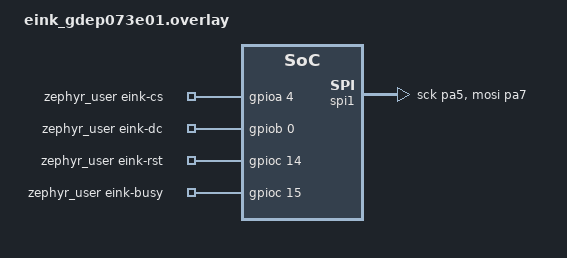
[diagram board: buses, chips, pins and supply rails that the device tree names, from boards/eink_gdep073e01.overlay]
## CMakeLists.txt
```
cmake_minimum_required(VERSION 3.28.0)

find_package(Zephyr REQUIRED HINTS $ENV{ZEPHYR_BASE})
project(nucleo_l432kc_eink_gdep073e01)

target_sources(app PRIVATE
    src/main.c
    src/gdep073e01.c
)
```

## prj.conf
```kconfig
# SPI + GPIO for the e-paper panel
CONFIG_SPI=y
CONFIG_GPIO=y

# Console + logging
CONFIG_SERIAL=y
CONFIG_CONSOLE=y
CONFIG_UART_CONSOLE=y
CONFIG_PRINTK=y
CONFIG_STDOUT_CONSOLE=y

CONFIG_LOG=y
CONFIG_LOG_MODE_IMMEDIATE=y

# One 800-wide 4bpp scanline (400 bytes) lives on the stack while streaming
CONFIG_MAIN_STACK_SIZE=2048
```

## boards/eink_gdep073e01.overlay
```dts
/* boards/eink_gdep073e01.overlay for nucleo_l432kc
 *
 * Good Display GDEP073E01 (E Ink Spectra 6, SSD1677-family) 7.3" panel,
 * wired through the DESPI-C73 adapter board (8-pin header P2: 3.3V, GND,
 * SDI, SCK, CS, D/C, RES, BUSY - no MISO on this adapter).
 * CS/DC/RES/BUSY are plain GPIOs, driven manually by the driver so pixel
 * data can be streamed row-by-row without holding a full 192 KB
 * framebuffer (the L432KC only has 64 KB of SRAM).
 *
 * Wiring (DESPI-C73 P2 -> Nucleo Arduino-Nano header):
 *   3.3V -> 3V3
 *   GND  -> GND
 *   SDI  -> A6  (PA7, MOSI)
 *   SCK  -> A4  (PA5)
 *   CS   -> A3  (PA4)
 *   D/C  -> D3  (PB0)
 *   RES  -> D7  (PC14)
 *   BUSY -> D8  (PC15)
 */

&spi1 {
	pinctrl-0 = <&spi1_sck_pa5 &spi1_mosi_pa7>;
	pinctrl-names = "default";
	status = "okay";
};

&gpioa {
	status = "okay";
};

&gpiob {
	status = "okay";
};

&gpioc {
	status = "okay";
};

/ {
	zephyr_user: zephyr,user {
		eink-cs-gpios   = <&gpioa 4  GPIO_ACTIVE_HIGH>; /* active LOW in hw, driven raw */
		eink-dc-gpios   = <&gpiob 0  GPIO_ACTIVE_HIGH>; /* 0=command, 1=data */
		eink-rst-gpios  = <&gpioc 14 GPIO_ACTIVE_HIGH>; /* active LOW in hw, driven raw */
		eink-busy-gpios = <&gpioc 15 (GPIO_ACTIVE_HIGH | GPIO_PULL_UP)>; /* LOW=busy, HIGH=idle; PULL_UP is a temporary diagnostic to check if BUSY is floating */
	};
};
```

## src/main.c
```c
#include <zephyr/kernel.h>
#include <zephyr/device.h>
#include <zephyr/drivers/spi.h>
#include <zephyr/drivers/gpio.h>
#include <zephyr/logging/log.h>

#include "gdep073e01.h"

LOG_MODULE_REGISTER(main, LOG_LEVEL_INF);

#define ZEPHYR_USER_NODE DT_PATH(zephyr_user)

static struct gdep073e01_dev eink = {
	.cs   = GPIO_DT_SPEC_GET(ZEPHYR_USER_NODE, eink_cs_gpios),
	.dc   = GPIO_DT_SPEC_GET(ZEPHYR_USER_NODE, eink_dc_gpios),
	.rst  = GPIO_DT_SPEC_GET(ZEPHYR_USER_NODE, eink_rst_gpios),
	.busy = GPIO_DT_SPEC_GET(ZEPHYR_USER_NODE, eink_busy_gpios),
};

int main(void)
{
	int ret;

	eink.spi = DEVICE_DT_GET(DT_NODELABEL(spi1));
	eink.spi_cfg.frequency = 2000000U;
	eink.spi_cfg.operation = SPI_WORD_SET(8) | SPI_TRANSFER_MSB;
	/* eink.spi_cfg.cs left zero-initialized: CS is driven manually below,
	 * not by the SPI driver.
	 */

	LOG_INF("Initializing GDEP073E01 7.3in Spectra 6 e-paper display...");

	ret = gdep073e01_init(&eink);
	if (ret) {
		LOG_ERR("Display init failed: %d", ret);
		return ret;
	}

	LOG_INF("Drawing color bar test pattern (full refresh takes ~15-20s)...");
	ret = gdep073e01_display_color_bars(&eink);
	if (ret) {
		LOG_ERR("Display refresh failed: %d", ret);
		return ret;
	}

	LOG_INF("Done. Putting panel into deep sleep.");
	gdep073e01_sleep(&eink);

	while (1) {
		k_msleep(1000);
	}

	return 0;
}
```

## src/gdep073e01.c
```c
#include "gdep073e01.h"

#include <errno.h>
#include <string.h>
#include <zephyr/kernel.h>
#include <zephyr/logging/log.h>
#include <zephyr/sys/util.h>

LOG_MODULE_REGISTER(gdep073e01, LOG_LEVEL_DBG);

#define BUSY_TIMEOUT_MS 30000

static void cs_select(struct gdep073e01_dev *dev)
{
	gpio_pin_set_dt(&dev->cs, 0); /* CS is active LOW */
}

static void cs_deselect(struct gdep073e01_dev *dev)
{
	gpio_pin_set_dt(&dev->cs, 1);
}

static int spi_send(struct gdep073e01_dev *dev, const uint8_t *data, size_t len)
{
	struct spi_buf buf = { .buf = (void *)data, .len = len };
	struct spi_buf_set set = { .buffers = &buf, .count = 1 };

	return spi_write(dev->spi, &dev->spi_cfg, &set);
}

/* Sends a command byte (DC low) followed by optional parameter bytes (DC high),
 * holding CS asserted for the whole transaction.
 */
static int send_cmd(struct gdep073e01_dev *dev, uint8_t cmd, const uint8_t *params, size_t len)
{
	int ret;

	cs_select(dev);

	gpio_pin_set_dt(&dev->dc, 0);
	ret = spi_send(dev, &cmd, 1);
	if (ret) {
		goto out;
	}

	if (len > 0) {
		gpio_pin_set_dt(&dev->dc, 1);
		ret = spi_send(dev, params, len);
	}

out:
	cs_deselect(dev);
	return ret;
}

static int wait_busy(struct gdep073e01_dev *dev)
{
	int64_t start = k_uptime_get();
	int64_t last_log = start;

	LOG_DBG("wait_busy: entry, raw BUSY pin = %d", gpio_pin_get_dt(&dev->busy));

	while (gpio_pin_get_dt(&dev->busy) == 0) { /* LOW = busy */
		int64_t now = k_uptime_get();
		int32_t elapsed = (int32_t)(now - start);

		if (now - last_log >= 500) {
			if (elapsed > 5000) {
				LOG_WRN("wait_busy: still busy after %dms (raw=%d) - longer "
					"than a normal refresh, check BUSY/RST wiring and "
					"panel power",
					elapsed, gpio_pin_get_dt(&dev->busy));
			} else {
				LOG_INF("wait_busy: still busy after %dms (raw=%d)", elapsed,
					gpio_pin_get_dt(&dev->busy));
			}
			last_log = now;
		}

		if (elapsed > BUSY_TIMEOUT_MS) {
			LOG_ERR("Timeout waiting for BUSY to release (raw=%d)",
				gpio_pin_get_dt(&dev->busy));
			return -ETIMEDOUT;
		}
		k_msleep(10);
	}

	LOG_DBG("wait_busy: released after %dms", (int32_t)(k_uptime_get() - start));
	return 0;
}

static void hw_reset(struct gdep073e01_dev *dev)
{
	LOG_DBG("hw_reset: RST high (idle)");
	gpio_pin_set_dt(&dev->rst, 1);
	k_msleep(50);

	LOG_DBG("hw_reset: RST low (asserted), BUSY raw=%d", gpio_pin_get_dt(&dev->busy));
	gpio_pin_set_dt(&dev->rst, 0); /* RST is active LOW */
	k_msleep(20);

	LOG_DBG("hw_reset: RST high (released), BUSY raw=%d", gpio_pin_get_dt(&dev->busy));
	gpio_pin_set_dt(&dev->rst, 1);
	k_msleep(10);

	LOG_DBG("hw_reset: done, BUSY raw=%d", gpio_pin_get_dt(&dev->busy));
}

static int panel_init_registers(struct gdep073e01_dev *dev)
{
	static const uint8_t cmdh[]  = { 0x49, 0x55, 0x20, 0x08, 0x09, 0x18 };
	static const uint8_t pwr[]   = { 0x3F };
	static const uint8_t psr[]   = { 0x5F, 0x69 };
	static const uint8_t pofs[]  = { 0x00, 0x54, 0x00, 0x44 };
	static const uint8_t btst1[] = { 0x40, 0x1F, 0x1F, 0x2C };
	static const uint8_t btst2[] = { 0x6F, 0x1F, 0x17, 0x49 };
	static const uint8_t btst3[] = { 0x6F, 0x1F, 0x1F, 0x22 };
	static const uint8_t pll[]   = { 0x08 };
	static const uint8_t cdi[]   = { 0x3F };
	static const uint8_t tcon[]  = { 0x02, 0x00 };
	static const uint8_t tres[]  = { 0x03, 0x20, 0x01, 0xE0 }; /* 800 x 480 */
	static const uint8_t vdcs[]  = { 0x01 };
	static const uint8_t pws[]   = { 0x2F };
	int ret;

	ret = send_cmd(dev, 0xAA, cmdh, sizeof(cmdh));   /* CMDH */
	if (ret) return ret;
	ret = send_cmd(dev, 0x01, pwr, sizeof(pwr));     /* PWR */
	if (ret) return ret;
	ret = send_cmd(dev, 0x00, psr, sizeof(psr));     /* PSR */
	if (ret) return ret;
	ret = send_cmd(dev, 0x03, pofs, sizeof(pofs));   /* POFS */
	if (ret) return ret;
	ret = send_cmd(dev, 0x05, btst1, sizeof(btst1)); /* BTST1 */
	if (ret) return ret;
	ret = send_cmd(dev, 0x06, btst2, sizeof(btst2)); /* BTST2 */
	if (ret) return ret;
	ret = send_cmd(dev, 0x08, btst3, sizeof(btst3)); /* BTST3 */
	if (ret) return ret;
	ret = send_cmd(dev, 0x30, pll, sizeof(pll));     /* PLL */
	if (ret) return ret;
	ret = send_cmd(dev, 0x50, cdi, sizeof(cdi));     /* CDI */
	if (ret) return ret;
	ret = send_cmd(dev, 0x60, tcon, sizeof(tcon));   /* TCON */
	if (ret) return ret;
	ret = send_cmd(dev, 0x61, tres, sizeof(tres));   /* TRES */
	if (ret) return ret;
	ret = send_cmd(dev, 0x84, vdcs, sizeof(vdcs));   /* T_VDCS */
	if (ret) return ret;
	ret = send_cmd(dev, 0xE3, pws, sizeof(pws));     /* PWS */
	if (ret) return ret;

	ret = send_cmd(dev, 0x04, NULL, 0); /* PON: power on */
	if (ret) return ret;

	return wait_busy(dev);
}

int gdep073e01_init(struct gdep073e01_dev *dev)
{
	if (!device_is_ready(dev->spi)) {
		LOG_ERR("SPI bus not ready");
		return -ENODEV;
	}
	if (!gpio_is_ready_dt(&dev->cs) || !gpio_is_ready_dt(&dev->dc) ||
	    !gpio_is_ready_dt(&dev->rst) || !gpio_is_ready_dt(&dev->busy)) {
		LOG_ERR("One or more control GPIOs not ready");
		return -ENODEV;
	}

	gpio_pin_configure_dt(&dev->cs, GPIO_OUTPUT);
	gpio_pin_set_dt(&dev->cs, 1); /* deselected */
	gpio_pin_configure_dt(&dev->dc, GPIO_OUTPUT);
	gpio_pin_configure_dt(&dev->rst, GPIO_OUTPUT);
	gpio_pin_set_dt(&dev->rst, 1); /* idle, not in reset */
	gpio_pin_configure_dt(&dev->busy, GPIO_INPUT);

	hw_reset(dev);

	int ret = wait_busy(dev);

	if (ret) {
		return ret;
	}

	return panel_init_registers(dev);
}

/* Sends the 0x10 (data transmit) command and leaves CS asserted / DC high
 * so the caller can stream scanlines with repeated spi_send() calls.
 */
static int start_data_stream(struct gdep073e01_dev *dev)
{
	uint8_t cmd = 0x10;
	int ret;

	cs_select(dev);
	gpio_pin_set_dt(&dev->dc, 0);
	ret = spi_send(dev, &cmd, 1);
	if (ret) {
		cs_deselect(dev);
		return ret;
	}
	gpio_pin_set_dt(&dev->dc, 1);
	return 0;
}

static int refresh(struct gdep073e01_dev *dev)
{
	static const uint8_t cdi[] = { 0x3F };
	static const uint8_t drf[] = { 0x00 };
	int ret;

	ret = send_cmd(dev, 0x50, cdi, sizeof(cdi)); /* CDI: full refresh border */
	if (ret) return ret;

	ret = send_cmd(dev, 0x12, drf, sizeof(drf)); /* DRF: display refresh */
	if (ret) return ret;

	k_msleep(50);
	return wait_busy(dev);
}

int gdep073e01_fill(struct gdep073e01_dev *dev, enum gdep073e01_color color)
{
	uint8_t line[GDEP073E01_WIDTH / 2];
	int ret;

	memset(line, (uint8_t)((color << 4) | color), sizeof(line));

	ret = start_data_stream(dev);
	if (ret) {
		return ret;
	}

	for (int y = 0; y < GDEP073E01_HEIGHT; y++) {
		ret = spi_send(dev, line, sizeof(line));
		if (ret) {
			cs_deselect(dev);
			return ret;
		}
	}
	cs_deselect(dev);

	return refresh(dev);
}

int gdep073e01_display_color_bars(struct gdep073e01_dev *dev)
{
	static const enum gdep073e01_color bar_colors[] = {
		GDEP073E01_BLACK, GDEP073E01_WHITE, GDEP073E01_YELLOW,
		GDEP073E01_RED,   GDEP073E01_BLUE,  GDEP073E01_GREEN,
	};
	const int n_bars = ARRAY_SIZE(bar_colors);
	const int bar_width = GDEP073E01_WIDTH / n_bars;
	uint8_t line[GDEP073E01_WIDTH / 2];
	int ret;

	/* Vertical bars: identical on every row, so build the scanline once. */
	for (int x = 0; x < GDEP073E01_WIDTH; x++) {
		int bar = MIN(x / bar_width, n_bars - 1);
		uint8_t px = bar_colors[bar];

		if (x % 2 == 0) {
			line[x / 2] = (uint8_t)(px << 4);
		} else {
			line[x / 2] |= px;
		}
	}

	ret = start_data_stream(dev);
	if (ret) {
		return ret;
	}

	for (int y = 0; y < GDEP073E01_HEIGHT; y++) {
		ret = spi_send(dev, line, sizeof(line));
		if (ret) {
			cs_deselect(dev);
			return ret;
		}
	}
	cs_deselect(dev);

	return refresh(dev);
}

int gdep073e01_sleep(struct gdep073e01_dev *dev)
{
	static const uint8_t dslp[] = { 0xA5 };
	int ret;

	ret = send_cmd(dev, 0x02, NULL, 0); /* POF: power off */
	if (ret) return ret;

	ret = wait_busy(dev);
	if (ret) return ret;

	return send_cmd(dev, 0x07, dslp, sizeof(dslp)); /* DSLP: deep sleep */
}
```

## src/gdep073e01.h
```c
#ifndef GDEP073E01_H_
#define GDEP073E01_H_

#include <stdint.h>
#include <zephyr/device.h>
#include <zephyr/drivers/gpio.h>
#include <zephyr/drivers/spi.h>

#define GDEP073E01_WIDTH  800
#define GDEP073E01_HEIGHT 480

/* 4-bit color codes as programmed into the panel's RAM (2 px per byte) */
enum gdep073e01_color {
	GDEP073E01_BLACK  = 0x0,
	GDEP073E01_WHITE  = 0x1,
	GDEP073E01_YELLOW = 0x2,
	GDEP073E01_RED    = 0x3,
	GDEP073E01_BLUE   = 0x5,
	GDEP073E01_GREEN  = 0x6,
};

struct gdep073e01_dev {
	const struct device *spi;
	struct spi_config spi_cfg;
	struct gpio_dt_spec cs;
	struct gpio_dt_spec dc;
	struct gpio_dt_spec rst;
	struct gpio_dt_spec busy;
};

/* Resets the panel, runs the SSD1677-family power-up/register sequence. */
int gdep073e01_init(struct gdep073e01_dev *dev);

/* Streams a solid color to the whole panel and triggers a full refresh. */
int gdep073e01_fill(struct gdep073e01_dev *dev, enum gdep073e01_color color);

/* Streams a 6-color vertical bar test pattern and triggers a full refresh. */
int gdep073e01_display_color_bars(struct gdep073e01_dev *dev);

/* Powers off and enters deep sleep. A hw_reset (gdep073e01_init) is
 * required to wake it back up.
 */
int gdep073e01_sleep(struct gdep073e01_dev *dev);

#endif /* GDEP073E01_H_ */
```
